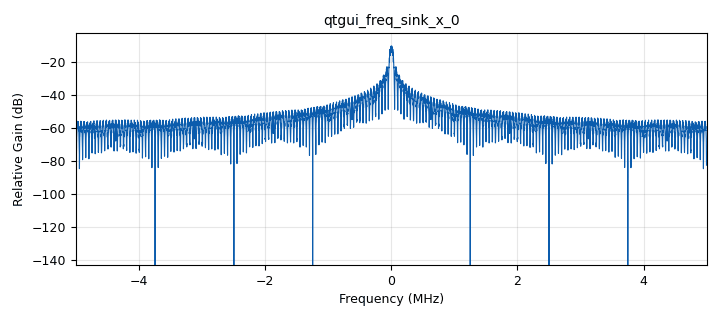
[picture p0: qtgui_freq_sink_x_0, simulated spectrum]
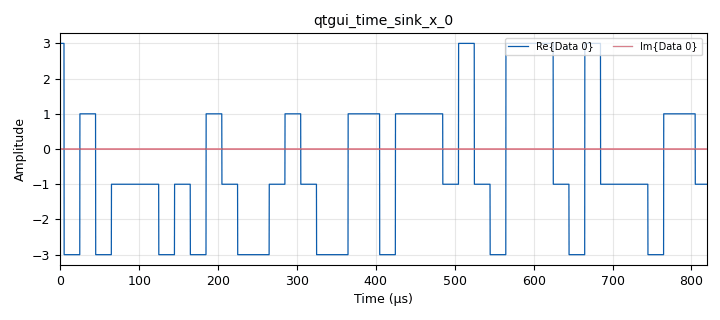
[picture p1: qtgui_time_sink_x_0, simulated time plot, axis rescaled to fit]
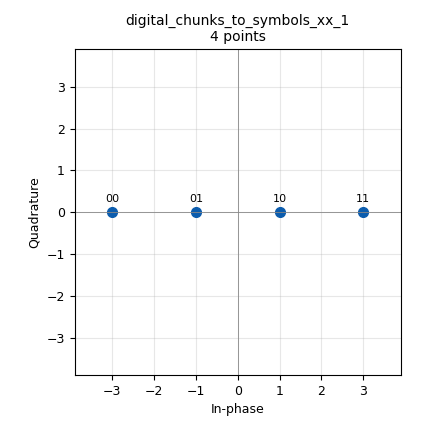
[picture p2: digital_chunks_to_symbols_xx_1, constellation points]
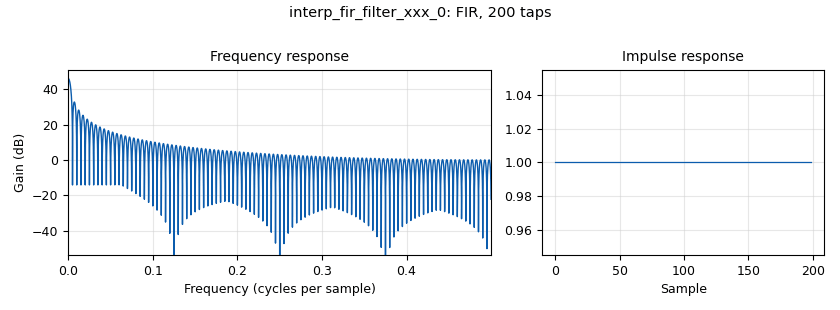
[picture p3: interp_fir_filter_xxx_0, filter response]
options:
  parameters:
    generate_options: qt_gui
    id: Que3
    output_language: python
    title: Not titled yet
  states: {}

blocks:
- name: NRZ
  id: variable
  parameters:
    value: numpy.ones(interpolation_factor)
  states: {}
- name: RZ
  id: variable
  parameters:
    value: numpy.array([1] * (interpolation_factor // 2) + [0] * (interpolation_factor - interpolation_factor // 2))
  states: {}
- name: bit_rate
  id: variable
  parameters:
    value: '100000'
  states: {}
- name: bits_per_chunk
  id: variable
  parameters:
    value: '2'
  states: {}
- name: bpsk
  id: variable
  parameters:
    value: '[-1+0j,1+0j]'
  states: {}
- name: interpolation_factor
  id: variable
  parameters:
    value: samp_rate//symbol_rate
  states: {}
- name: manchester
  id: variable
  parameters:
    value: numpy.array([1] * (interpolation_factor // 2) + [-1] * (interpolation_factor - interpolation_factor // 2))
  states: {}
- name: mod_chooser
  id: variable
  parameters:
    value: pam4
  states: {}
- name: pam4
  id: variable
  parameters:
    value: |
      [-3+0j, -1+0j, 1+0j, 3+0j]
  states: {}
- name: pulse_shaper
  id: variable
  parameters:
    value: NRZ
  states: {}
- name: qpsk
  id: variable
  parameters:
    value: '[-1-1j, +1-1j, 1+1j,-1+1j]'
  states: {}
- name: samp_rate
  id: variable
  parameters:
    value: '10000000'
  states: {}
- name: symbol_rate
  id: variable
  parameters:
    value: bit_rate//bits_per_chunk
  states: {}
- name: analog_random_source_x_0
  id: analog_random_source_x
  parameters:
    max: 2*bits_per_chunk
    min: '0'
    num_samps: '8092'
    repeat: 'False'
    type: byte
  states: {}
- name: blocks_throttle2_0
  id: blocks_throttle2
  parameters:
    samples_per_second: samp_rate
    type: complex
  states: {}
- name: digital_chunks_to_symbols_xx_1
  id: digital_chunks_to_symbols_xx
  parameters:
    dimension: '1'
    in_type: byte
    out_type: complex
    symbol_table: mod_chooser
  states: {}
- name: import_0_0
  id: import
  parameters:
    imports: import numpy
  states: {}
- name: interp_fir_filter_xxx_0
  id: interp_fir_filter_xxx
  parameters:
    interp: interpolation_factor
    taps: pulse_shaper
    type: ccc
  states: {}
- name: qtgui_freq_sink_x_0
  id: qtgui_freq_sink_x
  parameters:
    autoscale: 'True'
    average: '0.05'
    bw: samp_rate
    fc: '0'
    fftsize: '8192'
    type: complex
    wintype: window.WIN_RECTANGULAR
  states: {}
- name: qtgui_time_sink_x_0
  id: qtgui_time_sink_x
  parameters:
    size: '8192'
    srate: samp_rate
    type: complex
  states: {}

connections:
- [analog_random_source_x_0, '0', digital_chunks_to_symbols_xx_1, '0']
- [blocks_throttle2_0, '0', qtgui_freq_sink_x_0, '0']
- [blocks_throttle2_0, '0', qtgui_time_sink_x_0, '0']
- [digital_chunks_to_symbols_xx_1, '0', interp_fir_filter_xxx_0, '0']
- [interp_fir_filter_xxx_0, '0', blocks_throttle2_0, '0']

metadata:
  file_format: 1
  grc_version: 3.10.10.0
